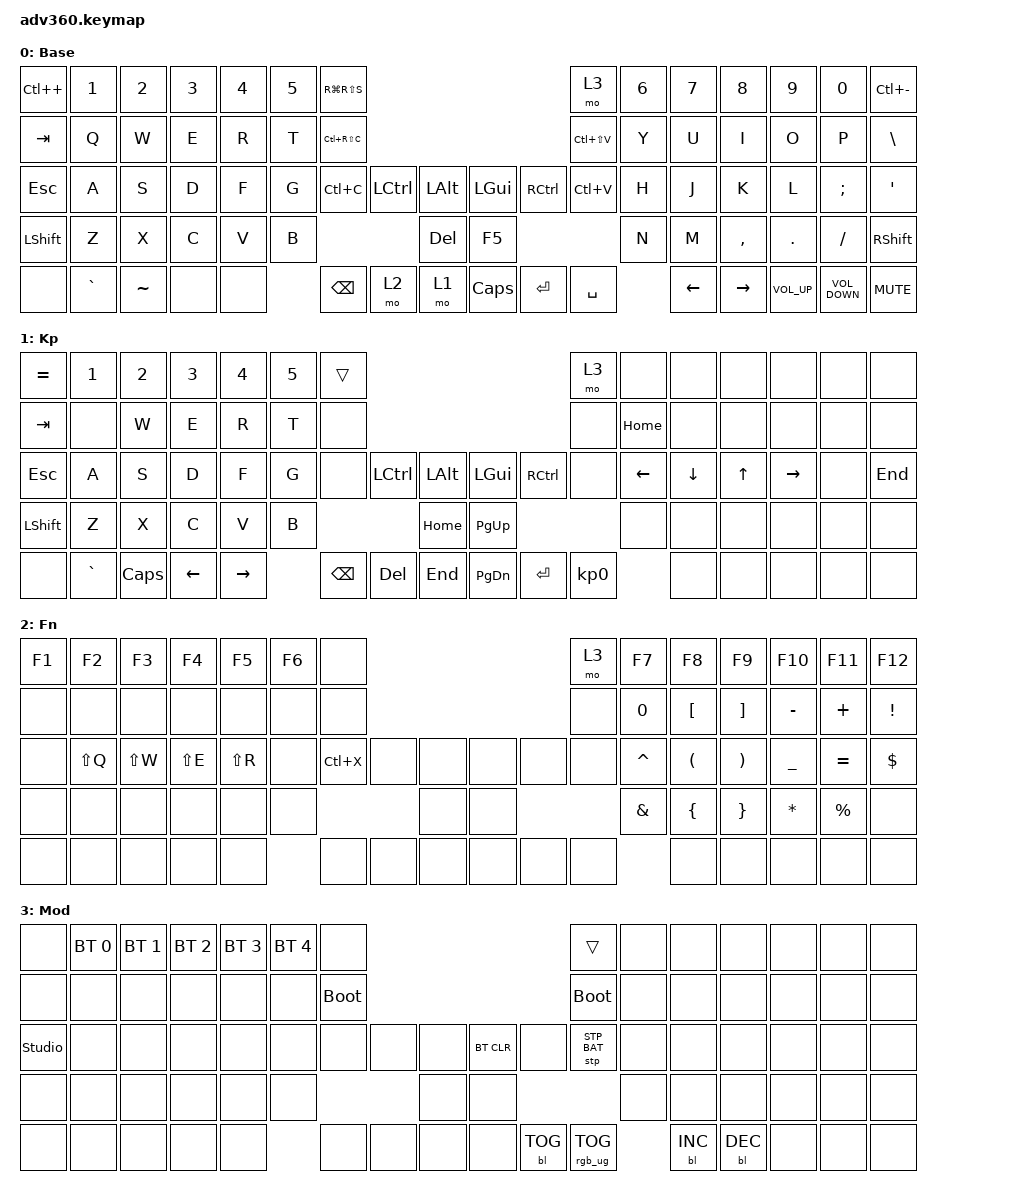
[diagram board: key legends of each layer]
#include <dt-bindings/zmk/stp.h>
#include <behaviors.dtsi>
#include <dt-bindings/zmk/backlight.h>
#include <dt-bindings/zmk/bt.h>
#include <dt-bindings/zmk/keys.h>
#include <dt-bindings/zmk/rgb.h>

/ {
    behaviors {
        #include "macros.dtsi"
      #include "version.dtsi"

        hm: homerow_mods {
            compatible = "zmk,behavior-hold-tap";
            label = "HOMEROW_MODS";
            #binding-cells = <2>;
            tapping-term-ms = <200>;
            quick_tap_ms = <175>;
            flavor = "tap-preferred";
            bindings = <&kp>, <&kp>;
        };
    };

    keymap {
        compatible = "zmk,keymap";

        default_layer {
            display-name = "Base";
            bindings = <
&kp LC(PLUS)  &kp N1     &kp N2     &kp N3  &kp N4  &kp N5  &kp RG(RS(S))                                                &mo 3          &kp N6  &kp N7    &kp N8     &kp N9           &kp N0             &kp LC(MINUS)
&kp TAB       &kp Q      &kp W      &kp E   &kp R   &kp T   &kp LC(RS(C))                                                &kp LC(LS(V))  &kp Y   &kp U     &kp I      &kp O            &kp P              &kp BSLH
&kp ESC       &kp A      &kp S      &kp D   &kp F   &kp G   &kp LC(C)      &kp LCTRL  &kp LALT      &kp LGUI  &kp RCTRL  &kp LC(V)      &kp H   &kp J     &kp K      &kp L            &kp SEMI           &kp SQT
&kp LSHFT     &kp Z      &kp X      &kp C   &kp V   &kp B                             &kp DEL       &kp F5                              &kp N   &kp M     &kp COMMA  &kp DOT          &kp FSLH           &kp RSHFT
&none         &kp GRAVE  &kp TILDE  &none   &none           &kp BSPC       &mo 2      &mo 1         &kp CAPS  &kp ENTER  &kp SPACE              &kp LEFT  &kp RIGHT  &kp C_VOLUME_UP  &kp C_VOLUME_DOWN  &kp C_MUTE
            >;
        };

        keypad {
            display-name = "Kp";
            bindings = <
&kp EQUAL  &kp N1     &kp N2    &kp N3    &kp N4     &kp N5  &trans                                                   &mo 3      &none     &none     &none   &none      &none  &none
&kp TAB    &none      &kp W     &kp E     &kp R      &kp T   &none                                                    &none      &kp HOME  &none     &none   &none      &none  &none
&kp ESC    &kp A      &kp S     &kp D     &kp F      &kp G   &none     &kp LCTRL  &kp LALT      &kp LGUI   &kp RCTRL  &none      &kp LEFT  &kp DOWN  &kp UP  &kp RIGHT  &none  &kp END
&kp LSHFT  &kp Z      &kp X     &kp C     &kp V      &kp B                        &kp HOME      &kp PG_UP                        &none     &none     &none   &none      &none  &none
&none      &kp GRAVE  &kp CAPS  &kp LEFT  &kp RIGHT          &kp BSPC  &kp DEL    &kp END       &kp PG_DN  &kp ENTER  &kp KP_N0            &none     &none   &none      &none  &none
            >;
        };

        fn {
            display-name = "Fn";
            bindings = <
&kp F1  &kp F2     &kp F3     &kp F4     &kp F5     &kp F6  &none                                      &mo 3  &kp F7         &kp F8                &kp F9                 &kp F10         &kp F11      &kp F12
&none   &none      &none      &none      &none      &none   &none                                      &none  &kp N0         &kp LEFT_BRACKET      &kp RIGHT_BRACKET      &kp MINUS       &kp PLUS     &kp EXCLAMATION
&none   &kp LS(Q)  &kp LS(W)  &kp LS(E)  &kp LS(R)  &none   &kp LC(X)  &none  &none      &none  &none  &none  &kp CARET      &kp LEFT_PARENTHESIS  &kp RIGHT_PARENTHESIS  &kp UNDERSCORE  &kp EQUAL    &kp DOLLAR
&none   &none      &none      &none      &none      &none                     &none      &none                &kp AMPERSAND  &kp LEFT_BRACE        &kp RIGHT_BRACE        &kp ASTERISK    &kp PERCENT  &none
&none   &none      &none      &none      &none              &none      &none  &none      &none  &none  &none                 &none                 &none                  &none           &none        &none
            >;
        };

        mod {
            display-name = "Mod";
            bindings = <
&none           &bt BT_SEL 0  &bt BT_SEL 1  &bt BT_SEL 2  &bt BT_SEL 3  &bt BT_SEL 4  &none                                                  &trans           &none  &none       &none       &none  &none  &none
&none           &none         &none         &none         &none         &none         &bootloader                                            &bootloader      &none  &none       &none       &none  &none  &none
&studio_unlock  &none         &none         &none         &none         &none         &none        &none  &none      &bt BT_CLR  &none       &stp STP_BAT     &none  &none       &none       &none  &none  &none
&none           &none         &none         &none         &none         &none                             &none      &none                                    &none  &none       &none       &none  &none  &none
&none           &none         &none         &none         &none                       &none        &none  &none      &none       &bl BL_TOG  &rgb_ug RGB_TOG         &bl BL_INC  &bl BL_DEC  &none  &none  &none
            >;
        };

        extra1 {
            display-name = "Red";
            status = "reserved";
        };

        extra2 {
            display-name = "Purple";
            status = "reserved";
        };

        extra3 {
            display-name = "Cyan";
            status = "reserved";
        };

        extra4 {
            display-name = "Yellow";
            status = "reserved";
        };
    };
};
